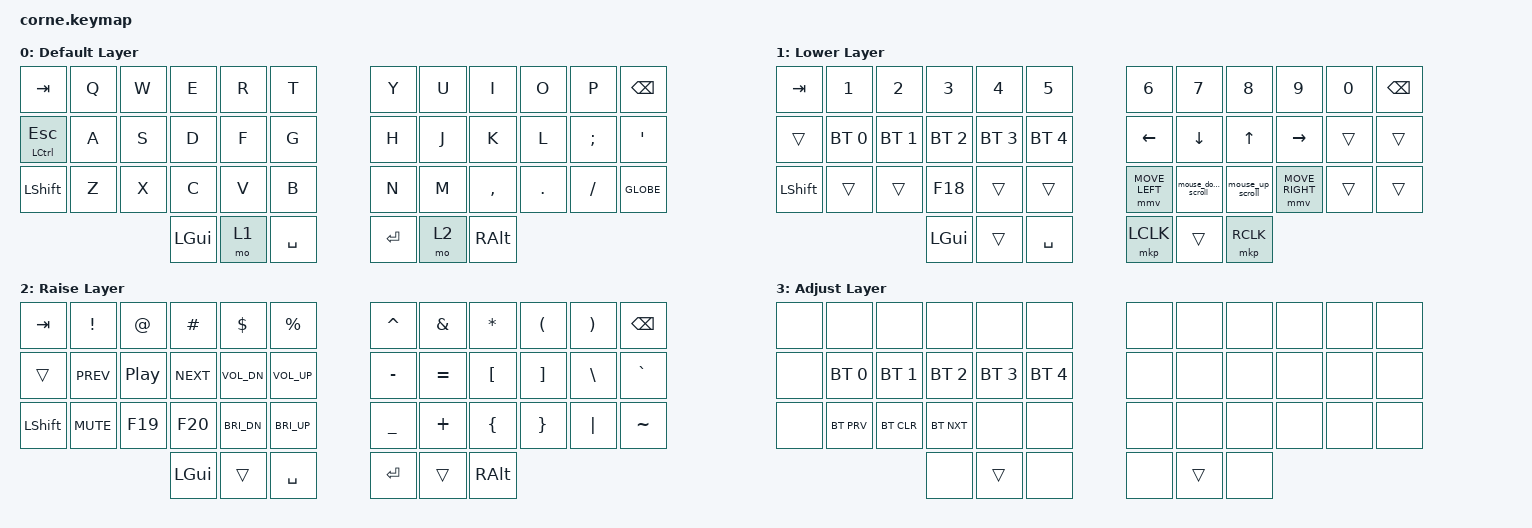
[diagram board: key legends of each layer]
/*
 * Copyright (c) 2020 The ZMK Contributors
 *
 * SPDX-License-Identifier: MIT
 */

#define ZMK_POINTING_DEFAULT_MOVE_VAL 1600
#define ZMK_POINTING_DEFAULT_SCRL_VAL 20

#include <behaviors.dtsi>
#include <dt-bindings/zmk/keys.h>
#include <dt-bindings/zmk/bt.h>
#include <dt-bindings/zmk/pointing.h>

// Raycast maps these to the connected headphones' listening modes (see README, Mac setup).
#define NOISE_CANCELLATION F19
#define TRANSPARENCY F20
#define CLIPBOARD_HISTORY F18

/ {
        // The wheel directions are swapped so that, with macOS natural scrolling on (it is shared
        // with the trackpad), M scrolls the page down and comma scrolls it up.
        behaviors {
                mouse_down_scroll: mouse_down_scroll {
                        compatible = "zmk,behavior-shift-scroll";
                        #binding-cells = <0>;
                        bindings = <&mmv MOVE_DOWN>, <&msc SCRL_UP>;
                };

                mouse_up_scroll: mouse_up_scroll {
                        compatible = "zmk,behavior-shift-scroll";
                        #binding-cells = <0>;
                        bindings = <&mmv MOVE_UP>, <&msc SCRL_DOWN>;
                };
        };

        conditional_layers {
                compatible = "zmk,conditional-layers";

                adjust {
                        if-layers = <1 2>;
                        then-layer = <3>;
                };
        };

        keymap {
                compatible = "zmk,keymap";

                default_layer {
                        display-name = "Default Layer";
// -----------------------------------------------------------------------------------------
// |  TAB |  Q  |  W  |  E  |  R  |  T  |   |  Y  |  U   |  I  |  O  |  P  | BSPC |
// |  ⭐  |  A  |  S  |  D  |  F  |  G  |   |  H  |  J   |  K  |  L  |  ;  |  '   |
// | SHFT |  Z  |  X  |  C  |  V  |  B  |   |  N  |  M   |  ,  |  .  |  /  | 🌐  |
//                    | GUI | LWR | SPC |   | ENT | RSE  | ALT |
                        bindings = <
       &kp TAB &kp Q &kp W &kp E &kp R &kp T       &kp Y &kp U  &kp I     &kp O   &kp P    &kp BSPC
 &mt LCTRL ESC &kp A &kp S &kp D &kp F &kp G       &kp H &kp J  &kp K     &kp L   &kp SCLN &kp QUOT
     &kp LSHFT &kp Z &kp X &kp C &kp V &kp B       &kp N &kp M  &kp COMMA &kp DOT &kp FSLH &kp GLOBE
                  &kp LGUI &mo 1 &kp SPACE       &kp RET &mo 2 &kp RALT
                        >;
                };
                lower_layer {
                        display-name = "Lower Layer";
// -----------------------------------------------------------------------------------------
// |  TAB |  1  |  2  |  3  |  4  |  5  |   |  6  |  7  |  8  |  9  |  0  | BSPC |
// |  ⭐  | BT1 | BT2 | BT3 | BT4 | BT5 |   | LFT | DWN |  UP | RGT |     |      |
// | SHFT |     |     | CLIP|     |     |   | MS< | MSD | MSU | MS> |     |      |
//                    | GUI |     | SPC |   |LCLICK|     | RCLICK |
// Hold Shift before M or comma to scroll down or up instead of moving the mouse.
                        bindings = <
   &kp TAB   &kp N1       &kp N2       &kp N3       &kp N4       &kp N5         &kp N6   &kp N7   &kp N8 &kp N9    &kp N0 &kp BSPC
   &trans    &bt BT_SEL 0 &bt BT_SEL 1 &bt BT_SEL 2 &bt BT_SEL 3 &bt BT_SEL 4   &kp LEFT &kp DOWN &kp UP &kp RIGHT &trans &trans
   &kp LSHFT &trans       &trans       &kp CLIPBOARD_HISTORY &trans &trans      &mmv MOVE_LEFT   &mouse_down_scroll &mouse_up_scroll &mmv MOVE_RIGHT &trans &trans
                                       &kp LGUI     &trans       &kp SPACE      &mkp LCLK  &trans   &mkp RCLK
                        >;
                };

                raise_layer {
                        display-name = "Raise Layer";
// -----------------------------------------------------------------------------------------
// |  TAB |  !  |  @  |  #  |  $  |  %  |   |  ^  |  &  |  *  |  (  |  )  | BSPC |
// |  ⭐  |  ⏮️ |  ⏯️ |  ⏭️ |  🔉 |  🔊 |   |  -  |  =  |  [  |  ]  |  \  |  `   |
// | SHFT | MUTE| ANC | TRNS| BR- | BR+ |   |  _  |  +  |  {  |  }  | "|" |  ~   |
//                    | GUI |     | SPC |   | ENT |     | ALT |
                        bindings = <
   &kp  TAB  &kp EXCL &kp AT &kp HASH &kp DLLR &kp PRCNT   &kp CARET &kp AMPS  &kp ASTRK &kp LPAR &kp RPAR &kp BSPC
   &trans &kp C_PREV &kp C_PP &kp C_NEXT &kp C_VOL_DN &kp C_VOL_UP      &kp MINUS &kp EQUAL &kp LBKT  &kp RBKT &kp BSLH &kp GRAVE
   &kp LSHFT &kp C_MUTE &kp NOISE_CANCELLATION &kp TRANSPARENCY &kp C_BRI_DN &kp C_BRI_UP          &kp UNDER &kp PLUS  &kp LBRC  &kp RBRC &kp PIPE &kp TILDE
                             &kp LGUI &trans   &kp SPACE   &kp RET   &trans    &kp RALT
                        >;
                };

                adjust_layer {
                        display-name = "Adjust Layer";
// Hold both Lower and Raise. Unassigned keys are blocked, not transparent.
// BTCLR clears the selected keyboard profile's pairing; it does not disconnect headphones.
// -----------------------------------------------------------------------------------------
// |      |     |     |     |     |     |   |     |     |     |     |     |      |
// |      | BT1 | BT2 | BT3 | BT4 | BT5 |   |     |     |     |     |     |      |
// |      | BTPR|BTCLR| BTNX|     |     |   |     |     |     |     |     |      |
//                    |     | LWR |     |   |     | RSE |     |
                        bindings = <
   &none &none        &none        &none        &none        &none          &none &none &none &none &none &none
   &none &bt BT_SEL 0 &bt BT_SEL 1 &bt BT_SEL 2 &bt BT_SEL 3 &bt BT_SEL 4   &none &none &none &none &none &none
   &none &bt BT_PRV   &bt BT_CLR   &bt BT_NXT   &none        &none          &none &none &none &none &none &none
                                       &none &trans &none                 &none &trans &none
                        >;
                };
        };
};
